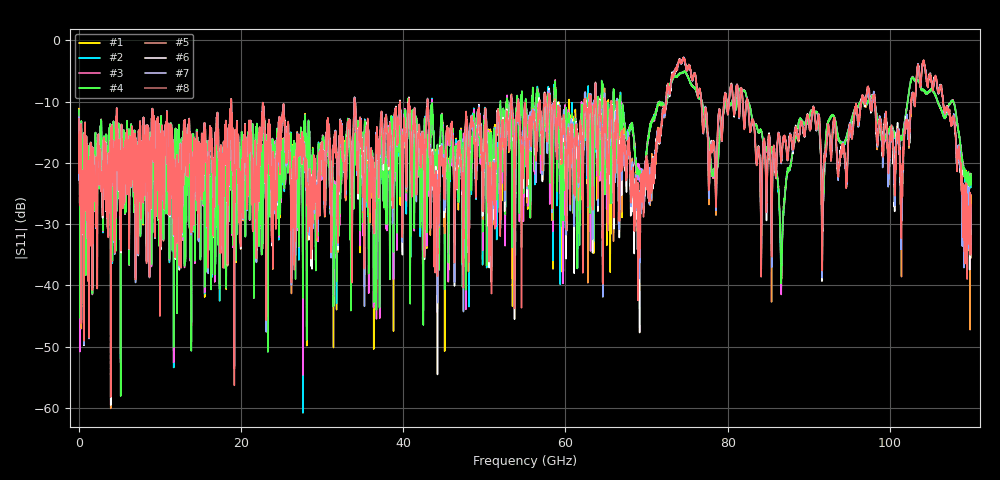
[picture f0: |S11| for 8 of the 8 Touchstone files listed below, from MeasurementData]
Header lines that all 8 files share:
#  HZ  S  RI  R  50.00
! Rohde & Schwarz ZVA67 4Ports - Version 4.11 - 1305.7002k04 SN: 101032
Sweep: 20 MHz to 110 GHz
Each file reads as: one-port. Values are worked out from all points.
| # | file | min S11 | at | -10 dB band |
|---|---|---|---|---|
| 1 | FWST_Line_0.s1p | -51.1 dB | 5.16 GHz | over 40.6 GHz wide |
| 2 | FWST_Line_1.s1p | -60.8 dB | 27.64 GHz | over 43.53 GHz wide |
| 3 | FWST_Line_2.s1p | -54.6 dB | 27.64 GHz | over 40.58 GHz wide |
| 4 | FWST_Line_3.s1p | -58.1 dB | 5.16 GHz | over 40.59 GHz wide |
| 5 | RWST_Line_0.s1p | -60.1 dB | 3.94 GHz | over 18.78 GHz wide |
| 6 | RWST_Line_1.s1p | -59.5 dB | 3.94 GHz | over 18.78 GHz wide |
| 7 | RWST_Line_2.s1p | -55.4 dB | 3.94 GHz | over 18.78 GHz wide |
| 8 | RWST_Line_3.s1p | -58.3 dB | 3.94 GHz | over 18.78 GHz wide |
